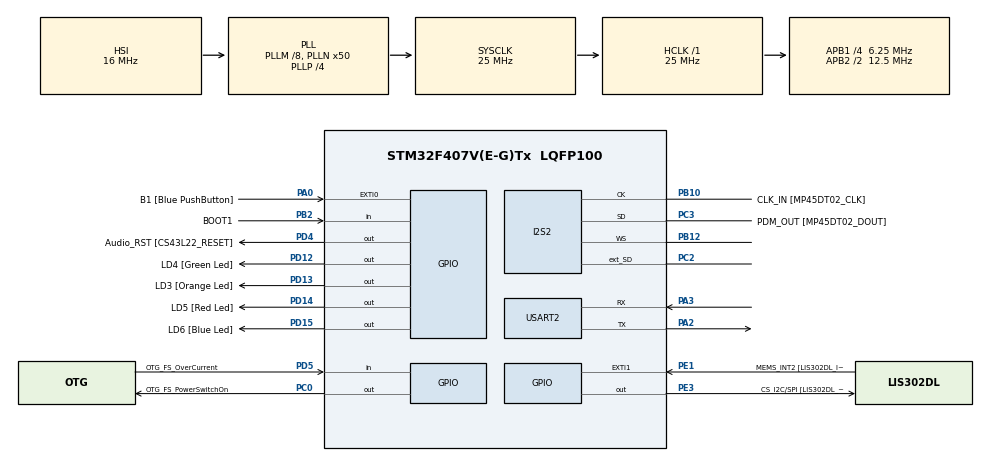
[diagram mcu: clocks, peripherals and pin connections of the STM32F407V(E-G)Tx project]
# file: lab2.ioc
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I2S2.AudioFreq=I2S_AUDIOFREQ_32K
I2S2.ErrorAudioFreq=-0.26 %
I2S2.FullDuplexMode=I2S_FULLDUPLEXMODE_ENABLE
I2S2.Mode=I2S_MODE_MASTER_RX
I2S2.RealAudioFreq=31.914 KHz
Mcu.Family=STM32F4
Mcu.Name=STM32F407V(E-G)Tx
Mcu.Package=LQFP100
NVIC.PriorityGroup=NVIC_PRIORITYGROUP_0
PA0-WKUP.GPIO_Label=B1 [Blue PushButton]
PA0-WKUP.Signal=GPXTI0
PA10.GPIO_Label=OTG_FS_ID
PA10.GPIO_Mode=GPIO_MODE_AF_PP
PA10.GPIO_PuPd=GPIO_NOPULL
PA10.GPIO_Speed=GPIO_SPEED_FREQ_LOW
PA10.Signal=USB_OTG_FS_ID
PA11.GPIO_Label=OTG_FS_DM
PA11.GPIO_Mode=GPIO_MODE_AF_PP
PA11.GPIO_PuPd=GPIO_NOPULL
PA11.GPIO_Speed=GPIO_SPEED_FREQ_LOW
PA11.Signal=USB_OTG_FS_DM
PA12.GPIO_Label=OTG_FS_DP
PA12.GPIO_Mode=GPIO_MODE_AF_PP
PA12.GPIO_PuPd=GPIO_NOPULL
PA12.GPIO_Speed=GPIO_SPEED_FREQ_LOW
PA12.Signal=USB_OTG_FS_DP
PA13.GPIO_Label=SWDIO
PA13.Signal=SYS_JTMS-SWDIO
PA14.GPIO_Label=SWCLK
PA14.Signal=SYS_JTCK-SWCLK
PA2.Mode=Asynchronous
PA2.Signal=USART2_TX
PA3.Mode=Asynchronous
PA3.Signal=USART2_RX
PA4.GPIO_Label=I2S3_WS [CS43L22_LRCK]
PA4.GPIO_Mode=GPIO_MODE_AF_PP
PA4.GPIO_PuPd=GPIO_NOPULL
PA4.GPIO_Speed=GPIO_SPEED_FREQ_LOW
PA4.Signal=I2S3_WS
PA5.GPIO_Label=SPI1_SCK [LIS302DL_SCL/SPC]
PA5.GPIO_Mode=GPIO_MODE_AF_PP
PA5.GPIO_PuPd=GPIO_NOPULL
PA5.GPIO_Speed=GPIO_SPEED_FREQ_LOW
PA5.Signal=SPI1_SCK
PA6.GPIO_Label=SPI1_MISO [LIS302DL_SDO]
PA6.GPIO_Mode=GPIO_MODE_AF_PP
PA6.GPIO_PuPd=GPIO_NOPULL
PA6.GPIO_Speed=GPIO_SPEED_FREQ_LOW
PA6.Signal=SPI1_MISO
PA7.GPIO_Label=SPI1_MOSI [LIS302DL_SDA/SDI/SDO]
PA7.GPIO_Mode=GPIO_MODE_AF_PP
PA7.GPIO_PuPd=GPIO_NOPULL
PA7.GPIO_Speed=GPIO_SPEED_FREQ_LOW
PA7.Signal=SPI1_MOSI
PA9.GPIO_Label=VBUS_FS
PA9.GPIO_Mode=GPIO_MODE_INPUT
PA9.GPIO_PuPd=GPIO_NOPULL
PA9.Signal=USB_OTG_FS_VBUS
PB10.GPIO_Label=CLK_IN [MP45DT02_CLK]
PB10.GPIO_Mode=GPIO_MODE_AF_PP
PB10.GPIO_PuPd=GPIO_NOPULL
PB10.GPIO_Speed=GPIO_SPEED_FREQ_LOW
PB10.Mode=Full_Duplex_Master
PB10.Signal=I2S2_CK
PB12.Mode=Full_Duplex_Master
PB12.Signal=I2S2_WS
PB2.GPIO_Label=BOOT1
PB2.GPIO_Mode=GPIO_MODE_INPUT
PB2.GPIO_PuPd=GPIO_NOPULL
PB2.Signal=GPIO_Input
PB3.GPIO_Label=SWO
PB3.Signal=SYS_JTDO-SWO
PB6.GPIO_Label=Audio_SCL [CS43L22_SCL]
PB6.GPIO_Mode=GPIO_MODE_AF_OD
PB6.GPIO_PuPd=GPIO_NOPULL
PB6.GPIO_Speed=GPIO_SPEED_FREQ_LOW
PB6.Signal=I2C1_SCL
PB9.GPIO_Label=Audio_SDA [CS43L22_SDA]
PB9.GPIO_Mode=GPIO_MODE_AF_OD
PB9.GPIO_PuPd=GPIO_NOPULL
PB9.GPIO_Speed=GPIO_SPEED_FREQ_LOW
PB9.Signal=I2C1_SDA
PC0.GPIO_Label=OTG_FS_PowerSwitchOn
PC0.GPIO_PuPd=GPIO_NOPULL
PC0.GPIO_Speed=GPIO_SPEED_FREQ_LOW
PC0.PinState=GPIO_PIN_SET
PC0.Signal=GPIO_Output
PC10.GPIO_Label=I2S3_SCK [CS43L22_SCLK]
PC10.GPIO_Mode=GPIO_MODE_AF_PP
PC10.GPIO_PuPd=GPIO_NOPULL
PC10.GPIO_Speed=GPIO_SPEED_FREQ_LOW
PC10.Signal=I2S3_CK
PC12.GPIO_Label=I2S3_SD [CS43L22_SDIN]
PC12.GPIO_Mode=GPIO_MODE_AF_PP
PC12.GPIO_PuPd=GPIO_NOPULL
PC12.GPIO_Speed=GPIO_SPEED_FREQ_LOW
PC12.Signal=I2S3_SD
PC14-OSC32_IN.GPIO_Label=PC14-OSC32_IN
PC14-OSC32_IN.Signal=RCC_OSC32_IN
PC15-OSC32_OUT.GPIO_Label=PC15-OSC32_OUT
PC15-OSC32_OUT.Signal=RCC_OSC32_OUT
PC2.Mode=Full_Duplex_Master
PC2.Signal=I2S2_ext_SD
PC3.GPIO_Label=PDM_OUT [MP45DT02_DOUT]
PC3.GPIO_Mode=GPIO_MODE_AF_PP
PC3.GPIO_PuPd=GPIO_NOPULL
PC3.GPIO_Speed=GPIO_SPEED_FREQ_LOW
PC3.Mode=Full_Duplex_Master
PC3.Signal=I2S2_SD
PC7.GPIO_Label=I2S3_MCK [CS43L22_MCLK]
PC7.GPIO_Mode=GPIO_MODE_AF_PP
PC7.GPIO_PuPd=GPIO_NOPULL
PC7.GPIO_Speed=GPIO_SPEED_FREQ_LOW
PC7.Signal=I2S3_MCK
PD12.GPIO_Label=LD4 [Green Led]
PD12.GPIO_PuPd=GPIO_NOPULL
PD12.GPIO_Speed=GPIO_SPEED_FREQ_LOW
PD12.Signal=GPIO_Output
PD13.GPIO_Label=LD3 [Orange Led]
PD13.GPIO_PuPd=GPIO_NOPULL
PD13.GPIO_Speed=GPIO_SPEED_FREQ_LOW
PD13.Signal=GPIO_Output
PD14.GPIO_Label=LD5 [Red Led]
PD14.GPIO_PuPd=GPIO_NOPULL
PD14.GPIO_Speed=GPIO_SPEED_FREQ_LOW
PD14.Signal=GPIO_Output
PD15.GPIO_Label=LD6 [Blue Led]
PD15.GPIO_PuPd=GPIO_NOPULL
PD15.GPIO_Speed=GPIO_SPEED_FREQ_LOW
PD15.Signal=GPIO_Output
PD4.GPIO_Label=Audio_RST [CS43L22_RESET]
PD4.GPIO_PuPd=GPIO_NOPULL
PD4.GPIO_Speed=GPIO_SPEED_FREQ_LOW
PD4.Signal=GPIO_Output
PD5.GPIO_Label=OTG_FS_OverCurrent
PD5.GPIO_Mode=GPIO_MODE_INPUT
PD5.GPIO_PuPd=GPIO_NOPULL
PD5.Signal=GPIO_Input
PE1.GPIO_Label=MEMS_INT2 [LIS302DL_INT2]
PE1.GPIO_ModeDefaultEXTI=GPIO_MODE_EVT_RISING
PE1.GPIO_PuPd=GPIO_NOPULL
PE1.Signal=GPXTI1
PE3.GPIO_Label=CS_I2C/SPI [LIS302DL_CS_I2C/SPI]
PE3.GPIO_PuPd=GPIO_NOPULL
PE3.GPIO_Speed=GPIO_SPEED_FREQ_LOW
PE3.Signal=GPIO_Output
PH0-OSC_IN.GPIO_Label=PH0-OSC_IN
PH0-OSC_IN.Signal=RCC_OSC_IN
PH1-OSC_OUT.GPIO_Label=PH1-OSC_OUT
PH1-OSC_OUT.Signal=RCC_OSC_OUT
ProjectManager.HeapSize=0x200
ProjectManager.StackSize=0x400
ProjectManager.TargetToolchain=SW4STM32
RCC.48MHZClocksFreq_Value=14285714.285714285
RCC.AHBFreq_Value=25000000
RCC.APB1CLKDivider=RCC_HCLK_DIV4
RCC.APB1Freq_Value=6250000
RCC.APB1TimFreq_Value=12500000
RCC.APB2CLKDivider=RCC_HCLK_DIV2
RCC.APB2Freq_Value=12500000
RCC.APB2TimFreq_Value=25000000
RCC.CortexFreq_Value=25000000
RCC.HCLKFreq_Value=25000000
RCC.HSE_VALUE=8000000
RCC.HSI_VALUE=16000000
RCC.LSE_VALUE=32768
RCC.PLLM=8
RCC.PLLN=50
RCC.PLLP=RCC_PLLP_DIV4
RCC.PLLQ=7
RCC.SYSCLKFreq_VALUE=25000000
RCC.SYSCLKSource=RCC_SYSCLKSOURCE_PLLCLK
RCC.VCOOutputFreq_Value=100000000
board=STM32F407G-DISC1

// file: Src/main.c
/**
  ******************************************************************************
  * File Name          : main.c
  * Description        : Main program body
  ******************************************************************************
  *
  * COPYRIGHT(c) 2559 STMicroelectronics
  *
  * Redistribution and use in source and binary forms, with or without modification,
  * are permitted provided that the following conditions are met:
  *   1. Redistributions of source code must retain the above copyright notice,
  *      this list of conditions and the following disclaimer.
  *   2. Redistributions in binary form must reproduce the above copyright notice,
  *      this list of conditions and the following disclaimer in the documentation
  *      and/or other materials provided with the distribution.
  *   3. Neither the name of STMicroelectronics nor the names of its contributors
  *      may be used to endorse or promote products derived from this software
  *      without specific prior written permission.
  *
  * THIS SOFTWARE IS PROVIDED BY THE COPYRIGHT HOLDERS AND CONTRIBUTORS "AS IS"
  * AND ANY EXPRESS OR IMPLIED WARRANTIES, INCLUDING, BUT NOT LIMITED TO, THE
  * IMPLIED WARRANTIES OF MERCHANTABILITY AND FITNESS FOR A PARTICULAR PURPOSE ARE
  * DISCLAIMED. IN NO EVENT SHALL THE COPYRIGHT HOLDER OR CONTRIBUTORS BE LIABLE
  * FOR ANY DIRECT, INDIRECT, INCIDENTAL, SPECIAL, EXEMPLARY, OR CONSEQUENTIAL
  * DAMAGES (INCLUDING, BUT NOT LIMITED TO, PROCUREMENT OF SUBSTITUTE GOODS OR
  * SERVICES; LOSS OF USE, DATA, OR PROFITS; OR BUSINESS INTERRUPTION) HOWEVER
  * CAUSED AND ON ANY THEORY OF LIABILITY, WHETHER IN CONTRACT, STRICT LIABILITY,
  * OR TORT (INCLUDING NEGLIGENCE OR OTHERWISE) ARISING IN ANY WAY OUT OF THE USE
  * OF THIS SOFTWARE, EVEN IF ADVISED OF THE POSSIBILITY OF SUCH DAMAGE.
  *
  ******************************************************************************
  */
#include "main.h"
#include "stm32f4xx_hal.h"

I2S_HandleTypeDef hi2s2;

UART_HandleTypeDef huart2;

/* USER CODE BEGIN PV */
/* Private variables ---------------------------------------------------------*/

float float_abs(float in){
	return in < 0 ? -in : in;
}

#define PDM_BUFFER_SIZE 20
#define PCM_BUFFER_SIZE 2500
#define LEAKY_KEEP_RATE 0.95
#define UART_DEBUG_TICK_RATE 100
#define PDM_BLOCK_SIZE_BITS 16

/* Microphone stuffs */

uint16_t pdm_buffer[PDM_BUFFER_SIZE]; // Buffer for pdm value from hi2s2 (Mic)
uint16_t pdm_value=0;
uint8_t  pcm_value=0;                 // For keeping pcm value calculated from pdm_value
                                      // value range is 0-16, 8-bit is chosen because it
                                      // can store 0-255
uint16_t pcm_count = 0;

char uart_temp_display_buffer[100];

float leaky_pcm_buffer = 0.0;         // Fast Estimation of moving average of PDM
float leaky_amp_buffer = 0.0;         // Fast Estimation of moving average of abs(PCM)

double pcm_square = 0;
float max_amp = 0;
int currentMicrophoneAmp = 0;
int oldMicrophoneAmp = 0;

/* USER CODE END PV */

void SystemClock_Config(void);
void Error_Handler(void);
static void MX_GPIO_Init(void);
static void MX_USART2_UART_Init(void);
static void MX_I2S2_Init(void);

/* USER CODE BEGIN PFP */
/* Private function prototypes -----------------------------------------------*/
static void GetMicrophone(void);

/* USER CODE END PFP */

int main(void)
{

  /* MCU Configuration----------------------------------------------------------*/

  /* Reset of all peripherals, Initializes the Flash interface and the Systick. */
  HAL_Init();

  /* Configure the system clock */
  SystemClock_Config();

  /* Initialize all configured peripherals */
  MX_GPIO_Init();
  MX_USART2_UART_Init();
  MX_I2S2_Init();

  /* Infinite loop */
  /* USER CODE BEGIN WHILE */
  while (1)
  {
	  GetMicrophone();
  /* USER CODE END WHILE */

  /* USER CODE BEGIN 3 */
	  if(oldMicrophoneAmp != currentMicrophoneAmp){
	  		sprintf(uart_temp_display_buffer, "Loudness : %d\n\r", (int) currentMicrophoneAmp);
	  		HAL_UART_Transmit(&huart2, (uint8_t*) uart_temp_display_buffer,
	  			strlen(uart_temp_display_buffer), 100);
	  		//HAL_UART_Transmit(&huart2, '\t', 1, 100);

	  		oldMicrophoneAmp = currentMicrophoneAmp;
	  	}

  }
  /* USER CODE END 3 */

}

/** System Clock Configuration
*/
void SystemClock_Config(void)
{

  RCC_OscInitTypeDef RCC_OscInitStruct;
  RCC_ClkInitTypeDef RCC_ClkInitStruct;
  RCC_PeriphCLKInitTypeDef PeriphClkInitStruct;

    /**Configure the main internal regulator output voltage
    */
  __HAL_RCC_PWR_CLK_ENABLE();

  __HAL_PWR_VOLTAGESCALING_CONFIG(PWR_REGULATOR_VOLTAGE_SCALE1);

    /**Initializes the CPU, AHB and APB busses clocks
    */
  RCC_OscInitStruct.OscillatorType = RCC_OSCILLATORTYPE_HSI;
  RCC_OscInitStruct.HSIState = RCC_HSI_ON;
  RCC_OscInitStruct.HSICalibrationValue = 16;
  RCC_OscInitStruct.PLL.PLLState = RCC_PLL_ON;
  RCC_OscInitStruct.PLL.PLLSource = RCC_PLLSOURCE_HSI;
  RCC_OscInitStruct.PLL.PLLM = 8;
  RCC_OscInitStruct.PLL.PLLN = 50;
  RCC_OscInitStruct.PLL.PLLP = RCC_PLLP_DIV4;
  RCC_OscInitStruct.PLL.PLLQ = 7;
  if (HAL_RCC_OscConfig(&RCC_OscInitStruct) != HAL_OK)
  {
    Error_Handler();
  }

    /**Initializes the CPU, AHB and APB busses clocks
    */
  RCC_ClkInitStruct.ClockType = RCC_CLOCKTYPE_HCLK|RCC_CLOCKTYPE_SYSCLK
                              |RCC_CLOCKTYPE_PCLK1|RCC_CLOCKTYPE_PCLK2;
  RCC_ClkInitStruct.SYSCLKSource = RCC_SYSCLKSOURCE_PLLCLK;
  RCC_ClkInitStruct.AHBCLKDivider = RCC_SYSCLK_DIV1;
  RCC_ClkInitStruct.APB1CLKDivider = RCC_HCLK_DIV4;
  RCC_ClkInitStruct.APB2CLKDivider = RCC_HCLK_DIV2;

  if (HAL_RCC_ClockConfig(&RCC_ClkInitStruct, FLASH_LATENCY_0) != HAL_OK)
  {
    Error_Handler();
  }

  PeriphClkInitStruct.PeriphClockSelection = RCC_PERIPHCLK_I2S;
  PeriphClkInitStruct.PLLI2S.PLLI2SN = 192;
  PeriphClkInitStruct.PLLI2S.PLLI2SR = 2;
  if (HAL_RCCEx_PeriphCLKConfig(&PeriphClkInitStruct) != HAL_OK)
  {
    Error_Handler();
  }

    /**Configure the Systick interrupt time
    */
  HAL_SYSTICK_Config(HAL_RCC_GetHCLKFreq()/1000);

    /**Configure the Systick
    */
  HAL_SYSTICK_CLKSourceConfig(SYSTICK_CLKSOURCE_HCLK);

  /* SysTick_IRQn interrupt configuration */
  HAL_NVIC_SetPriority(SysTick_IRQn, 0, 0);
}

/* I2S2 init function */
static void MX_I2S2_Init(void)
{

  hi2s2.Instance = SPI2;
  hi2s2.Init.Mode = I2S_MODE_MASTER_RX;
  hi2s2.Init.Standard = I2S_STANDARD_PHILIPS;
  hi2s2.Init.DataFormat = I2S_DATAFORMAT_16B;
  hi2s2.Init.MCLKOutput = I2S_MCLKOUTPUT_DISABLE;
  hi2s2.Init.AudioFreq = I2S_AUDIOFREQ_32K;
  hi2s2.Init.CPOL = I2S_CPOL_LOW;
  hi2s2.Init.ClockSource = I2S_CLOCK_PLL;
  hi2s2.Init.FullDuplexMode = I2S_FULLDUPLEXMODE_ENABLE;
  if (HAL_I2S_Init(&hi2s2) != HAL_OK)
  {
    Error_Handler();
  }

}

/* USART2 init function */
static void MX_USART2_UART_Init(void)
{

  huart2.Instance = USART2;
  huart2.Init.BaudRate = 115200;
  huart2.Init.WordLength = UART_WORDLENGTH_8B;
  huart2.Init.StopBits = UART_STOPBITS_1;
  huart2.Init.Parity = UART_PARITY_NONE;
  huart2.Init.Mode = UART_MODE_TX_RX;
  huart2.Init.HwFlowCtl = UART_HWCONTROL_NONE;
  huart2.Init.OverSampling = UART_OVERSAMPLING_16;
  if (HAL_UART_Init(&huart2) != HAL_OK)
  {
    Error_Handler();
  }

}

/** Configure pins as
        * Analog
        * Input
        * Output
        * EVENT_OUT
        * EXTI
     PA4   ------> I2S3_WS
     PA5   ------> SPI1_SCK
     PA6   ------> SPI1_MISO
     PA7   ------> SPI1_MOSI
     PC7   ------> I2S3_MCK
     PA9   ------> USB_OTG_FS_VBUS
     PA10   ------> USB_OTG_FS_ID
     PA11   ------> USB_OTG_FS_DM
     PA12   ------> USB_OTG_FS_DP
     PC10   ------> I2S3_CK
     PC12   ------> I2S3_SD
     PB6   ------> I2C1_SCL
     PB9   ------> I2C1_SDA
*/
static void MX_GPIO_Init(void)
{

  GPIO_InitTypeDef GPIO_InitStruct;

  /* GPIO Ports Clock Enable */
  __HAL_RCC_GPIOE_CLK_ENABLE();
  __HAL_RCC_GPIOC_CLK_ENABLE();
  __HAL_RCC_GPIOH_CLK_ENABLE();
  __HAL_RCC_GPIOA_CLK_ENABLE();
  __HAL_RCC_GPIOB_CLK_ENABLE();
  __HAL_RCC_GPIOD_CLK_ENABLE();

  /*Configure GPIO pin Output Level */
  HAL_GPIO_WritePin(CS_I2C_SPI_GPIO_Port, CS_I2C_SPI_Pin, GPIO_PIN_RESET);

  /*Configure GPIO pin Output Level */
  HAL_GPIO_WritePin(OTG_FS_PowerSwitchOn_GPIO_Port, OTG_FS_PowerSwitchOn_Pin, GPIO_PIN_SET);

  /*Configure GPIO pin Output Level */
  HAL_GPIO_WritePin(GPIOD, LD4_Pin|LD3_Pin|LD5_Pin|LD6_Pin
                          |Audio_RST_Pin, GPIO_PIN_RESET);

  /*Configure GPIO pin : CS_I2C_SPI_Pin */
  GPIO_InitStruct.Pin = CS_I2C_SPI_Pin;
  GPIO_InitStruct.Mode = GPIO_MODE_OUTPUT_PP;
  GPIO_InitStruct.Pull = GPIO_NOPULL;
  GPIO_InitStruct.Speed = GPIO_SPEED_FREQ_LOW;
  HAL_GPIO_Init(CS_I2C_SPI_GPIO_Port, &GPIO_InitStruct);

  /*Configure GPIO pin : OTG_FS_PowerSwitchOn_Pin */
  GPIO_InitStruct.Pin = OTG_FS_PowerSwitchOn_Pin;
  GPIO_InitStruct.Mode = GPIO_MODE_OUTPUT_PP;
  GPIO_InitStruct.Pull = GPIO_NOPULL;
  GPIO_InitStruct.Speed = GPIO_SPEED_FREQ_LOW;
  HAL_GPIO_Init(OTG_FS_PowerSwitchOn_GPIO_Port, &GPIO_InitStruct);

  /*Configure GPIO pin : B1_Pin */
  GPIO_InitStruct.Pin = B1_Pin;
  GPIO_InitStruct.Mode = GPIO_MODE_IT_RISING;
  GPIO_InitStruct.Pull = GPIO_NOPULL;
  HAL_GPIO_Init(B1_GPIO_Port, &GPIO_InitStruct);

  /*Configure GPIO pin : I2S3_WS_Pin */
  GPIO_InitStruct.Pin = I2S3_WS_Pin;
  GPIO_InitStruct.Mode = GPIO_MODE_AF_PP;
  GPIO_InitStruct.Pull = GPIO_NOPULL;
  GPIO_InitStruct.Speed = GPIO_SPEED_FREQ_LOW;
  GPIO_InitStruct.Alternate = GPIO_AF6_SPI3;
  HAL_GPIO_Init(I2S3_WS_GPIO_Port, &GPIO_InitStruct);

  /*Configure GPIO pins : SPI1_SCK_Pin SPI1_MISO_Pin SPI1_MOSI_Pin */
  GPIO_InitStruct.Pin = SPI1_SCK_Pin|SPI1_MISO_Pin|SPI1_MOSI_Pin;
  GPIO_InitStruct.Mode = GPIO_MODE_AF_PP;
  GPIO_InitStruct.Pull = GPIO_NOPULL;
  GPIO_InitStruct.Speed = GPIO_SPEED_FREQ_LOW;
  GPIO_InitStruct.Alternate = GPIO_AF5_SPI1;
  HAL_GPIO_Init(GPIOA, &GPIO_InitStruct);

  /*Configure GPIO pin : BOOT1_Pin */
  GPIO_InitStruct.Pin = BOOT1_Pin;
  GPIO_InitStruct.Mode = GPIO_MODE_INPUT;
  GPIO_InitStruct.Pull = GPIO_NOPULL;
  HAL_GPIO_Init(BOOT1_GPIO_Port, &GPIO_InitStruct);

  /*Configure GPIO pins : LD4_Pin LD3_Pin LD5_Pin LD6_Pin
                           Audio_RST_Pin */
  GPIO_InitStruct.Pin = LD4_Pin|LD3_Pin|LD5_Pin|LD6_Pin
                          |Audio_RST_Pin;
  GPIO_InitStruct.Mode = GPIO_MODE_OUTPUT_PP;
  GPIO_InitStruct.Pull = GPIO_NOPULL;
  GPIO_InitStruct.Speed = GPIO_SPEED_FREQ_LOW;
  HAL_GPIO_Init(GPIOD, &GPIO_InitStruct);

  /*Configure GPIO pins : I2S3_MCK_Pin I2S3_SCK_Pin I2S3_SD_Pin */
  GPIO_InitStruct.Pin = I2S3_MCK_Pin|I2S3_SCK_Pin|I2S3_SD_Pin;
  GPIO_InitStruct.Mode = GPIO_MODE_AF_PP;
  GPIO_InitStruct.Pull = GPIO_NOPULL;
  GPIO_InitStruct.Speed = GPIO_SPEED_FREQ_LOW;
  GPIO_InitStruct.Alternate = GPIO_AF6_SPI3;
  HAL_GPIO_Init(GPIOC, &GPIO_InitStruct);

  /*Configure GPIO pin : VBUS_FS_Pin */
  GPIO_InitStruct.Pin = VBUS_FS_Pin;
  GPIO_InitStruct.Mode = GPIO_MODE_INPUT;
  GPIO_InitStruct.Pull = GPIO_NOPULL;
  HAL_GPIO_Init(VBUS_FS_GPIO_Port, &GPIO_InitStruct);

  /*Configure GPIO pins : OTG_FS_ID_Pin OTG_FS_DM_Pin OTG_FS_DP_Pin */
  GPIO_InitStruct.Pin = OTG_FS_ID_Pin|OTG_FS_DM_Pin|OTG_FS_DP_Pin;
  GPIO_InitStruct.Mode = GPIO_MODE_AF_PP;
  GPIO_InitStruct.Pull = GPIO_NOPULL;
  GPIO_InitStruct.Speed = GPIO_SPEED_FREQ_LOW;
  GPIO_InitStruct.Alternate = GPIO_AF10_OTG_FS;
  HAL_GPIO_Init(GPIOA, &GPIO_InitStruct);

  /*Configure GPIO pin : OTG_FS_OverCurrent_Pin */
  GPIO_InitStruct.Pin = OTG_FS_OverCurrent_Pin;
  GPIO_InitStruct.Mode = GPIO_MODE_INPUT;
  GPIO_InitStruct.Pull = GPIO_NOPULL;
  HAL_GPIO_Init(OTG_FS_OverCurrent_GPIO_Port, &GPIO_InitStruct);

  /*Configure GPIO pins : Audio_SCL_Pin Audio_SDA_Pin */
  GPIO_InitStruct.Pin = Audio_SCL_Pin|Audio_SDA_Pin;
  GPIO_InitStruct.Mode = GPIO_MODE_AF_OD;
  GPIO_InitStruct.Pull = GPIO_PULLUP;
  GPIO_InitStruct.Speed = GPIO_SPEED_FREQ_LOW;
  GPIO_InitStruct.Alternate = GPIO_AF4_I2C1;
  HAL_GPIO_Init(GPIOB, &GPIO_InitStruct);

  /*Configure GPIO pin : MEMS_INT2_Pin */
  GPIO_InitStruct.Pin = MEMS_INT2_Pin;
  GPIO_InitStruct.Mode = GPIO_MODE_EVT_RISING;
  GPIO_InitStruct.Pull = GPIO_NOPULL;
  HAL_GPIO_Init(MEMS_INT2_GPIO_Port, &GPIO_InitStruct);

}

/* USER CODE BEGIN 4 */

void GetMicrophone(){
	uint8_t i = 0;
	HAL_I2S_Receive(&hi2s2, pdm_buffer, PDM_BUFFER_SIZE, 1000); // Receive PDM from Mic

	for (i = 0; i < PDM_BUFFER_SIZE; i++) {
		pcm_value = -PDM_BLOCK_SIZE_BITS / 2;
		pdm_value = pdm_buffer[i];
		// calculate PCM value
		while (pdm_value != 0)        // while pdm_value still have 1s in binary
		{
			pcm_value++;
			pdm_value ^= pdm_value & -pdm_value; // remove left most 1 in binary
		}
		leaky_pcm_buffer += pcm_value;
		leaky_pcm_buffer *= LEAKY_KEEP_RATE;
		leaky_amp_buffer += float_abs(leaky_pcm_buffer);
		leaky_amp_buffer *= LEAKY_KEEP_RATE;
	}
	pcm_count++;
	if (max_amp < leaky_amp_buffer)
		max_amp = leaky_amp_buffer;
	pcm_square += (leaky_amp_buffer / 2500) * leaky_amp_buffer;
	if (pcm_count >= 2500) {
		currentMicrophoneAmp = max_amp;
		pcm_count = 0;
		pcm_square = 0;
		max_amp = 0;
	}

}

/* USER CODE END 4 */

void Error_Handler(void)
{
  while(1)
  {
  }
}

/************************ (C) COPYRIGHT STMicroelectronics *****END OF FILE****/
